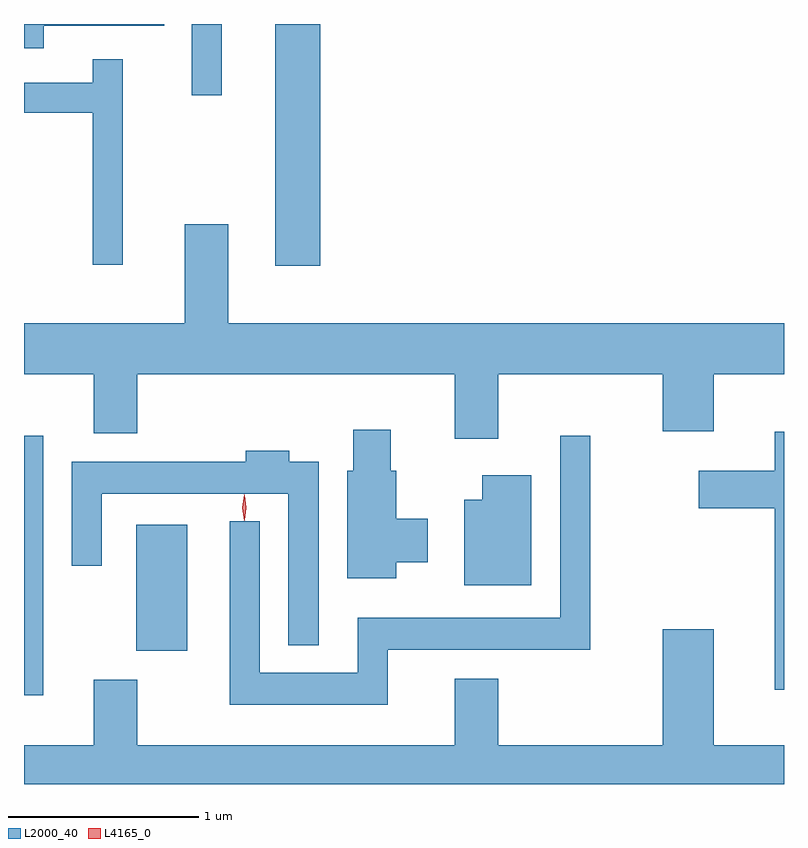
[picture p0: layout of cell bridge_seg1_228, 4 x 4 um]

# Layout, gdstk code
import gdstk
lib = gdstk.Library(unit=1e-6, precision=1e-09)
def R(c, l, rs):  # rectangles x0, y0, x1, y1
    for r in rs: c.add(gdstk.rectangle(r[:2], r[2:], *l))
def P(c, l, *ps):  # polygons
    for p in ps: c.add(gdstk.Polygon(p, *l))
L2000_40 = (2000, 40)
L4165_0 = (4165, 0)

bridge_seg1_228 = lib.new_cell('bridge_seg1_228')
R(bridge_seg1_228, L2000_40, [(831.094,884.566,831.194,885.933), (831.686,884.801,831.954,885.464), (832.416,886.826,832.654,888.099), (831.976,887.723,832.134,888.099)])
P(bridge_seg1_228, L2000_40, [(831.199,888.091),(831.833,888.091),(831.833,888.099),(831.094,888.099),(831.094,887.971),(831.199,887.971)],
  [(831.614,887.913),(831.456,887.913),(831.456,887.789),(831.094,887.789),(831.094,887.631),(831.456,887.631),(831.456,886.833),(831.614,886.833)],
  [(833.589,886.256),(834.456,886.256),(834.456,885.956),(834.724,885.956),(834.724,886.256),(835.094,886.256),(835.094,886.524),(832.169,886.524),(832.169,887.044),(831.941,887.044),(831.941,886.524),(831.094,886.524),(831.094,886.256),(831.461,886.256),(831.461,885.946),(831.689,885.946),(831.689,886.256),(833.361,886.256),(833.361,885.916),(833.589,885.916)],
  [(833.054,885.266),(833.219,885.266),(833.219,885.494),(833.054,885.494),(833.054,885.749),(833.024,885.749),(833.024,885.964),(832.826,885.964),(832.826,885.749),(832.796,885.749),(832.796,885.181),(833.054,885.181)],
  [(835.094,885.954),(835.046,885.954),(835.046,885.749),(834.646,885.749),(834.646,885.551),(835.046,885.551),(835.046,884.596),(835.094,884.596)],
  [(833.009,884.806),(834.074,884.806),(834.074,885.933),(833.916,885.933),(833.916,884.974),(832.851,884.974),(832.851,884.684),(832.334,884.684),(832.334,885.483),(832.176,885.483),(832.176,884.516),(833.009,884.516)],
  [(832.644,885.794),(832.489,885.794),(832.489,885.854),(832.261,885.854),(832.261,885.794),(831.346,885.794),(831.346,885.248),(831.504,885.248),(831.504,885.626),(832.486,885.626),(832.486,884.828),(832.644,884.828)],
  [(833.764,885.724),(833.506,885.724),(833.506,885.594),(833.411,885.594),(833.411,885.146),(833.764,885.146)],
  [(835.094,884.304),(834.724,884.304),(834.724,884.914),(834.456,884.914),(834.456,884.304),(833.589,884.304),(833.589,884.654),(833.361,884.654),(833.361,884.304),(831.689,884.304),(831.689,884.649),(831.461,884.649),(831.461,884.304),(831.094,884.304),(831.094,884.099),(835.094,884.099)])
P(bridge_seg1_228, L4165_0, [(832.252,885.484),(832.252,885.484),(832.242,885.553),(832.252,885.622),(832.252,885.623),(832.253,885.622),(832.262,885.553),(832.253,885.484)],
  [(832.254,885.487),(832.254,885.488),(832.244,885.554),(832.254,885.62),(832.254,885.621),(832.255,885.62),(832.264,885.554),(832.255,885.488)])

lib.write_gds('bridge_seg1_228.gds')
